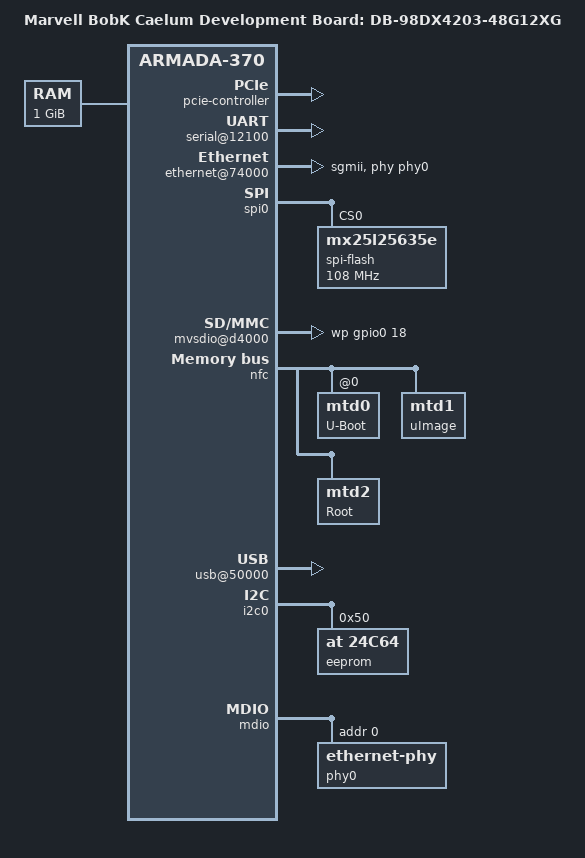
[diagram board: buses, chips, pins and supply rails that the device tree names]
/*
 * Device Tree file for Marvell BobK Caelum development board
 * Supported Boards:
 * (DB-98DX4203-48G12XG)
 *
 * Copyright (C) 2015 Marvell
 *
 * This file is licensed under the terms of the GNU General Public
 * License version 2.  This program is licensed "as is" without any
 * warranty of any kind, whether express or implied.
 */

/dts-v1/;
#include <dt-bindings/gpio/gpio.h>
#include "msys-bobk.dtsi"

/ {
	model = "Marvell BobK Caelum Development Board: DB-98DX4203-48G12XG";
	compatible = "marvell,msys", "marvell,msys-bobk", "marvell,msys-bobk-caelum",
		     "marvell,msys-bobk-caelum-db", "marvell,armada-370-xp";

	chosen {
		bootargs = "console=ttyS0,115200 earlyprintk";
	};

	memory {
		/*
                 * 1GB of plug-in RAM modules by default. The amount
                 * of memory available can be changed by the
                 * bootloader according the size of the module
                 * actually plugged.
		 */
		device_type = "memory";
		reg = <0x00000000 0x00000000 0x00000000 0x40000000>;
	};

	soc {
		devbus-bootcs {
			/* NOR 16 MiB */
			nor@0 {
				compatible = "cfi-flash";
				reg = <0 0x1000000>;
				bank-width = <2>;
			};
		};

		pcie-controller {
			status = "okay";

			pcie@1,0 {
				status = "okay";
			};
		};

		internal-regs {
			serial@12000 {
				status = "disabled";
			};

			serial@12100 {
				status = "okay";
			};

			/* Gbe MAC 0 is connected to switch port #62. */
			/* TODO: Enable the Gbe MAC 0 with fix-link. */
			ethernet@70000 {
				status = "disabled";
			};

			/* Gbe MAC 1 is connected to the out-of-band phy */
			/* since its 'phy' node's parent node - 'switch/mdio' node has 'smi-indirect-access' flag. */
			ethernet@74000 {
				status = "okay";
				phy = <&phy0>;
				phy-mode = "sgmii";
			};

			spi0: spi@10600 {
				status = "okay";

				spi-flash@0 {
					#address-cells = <1>;
					#size-cells = <1>;
					compatible = "mx25l25635e";
					reg = <0>; /* Chip select 0 */
					spi-max-frequency = <108000000>;
				};
			};

			mvsdio@d4000 {
				status = "okay";
				wp-gpios = <&gpio0 18 0>;
				broken-cd;
			};

			nfc: nand-flash@d0000 {
				#address-cells = <1>;
				#size-cells = <1>;
				status = "okay";

				nfc,nfc-mode  = "normal";       /* normal or ganged */
				nfc,nfc-dma   = <0>;            /* 0 for no, 1 for dma */
				nfc,nfc-width = <8>;
				nfc,ecc-type  = <1>;            /* 4 bit */
				nfc,num-cs    = <1>;

				mtd0@00000000 {
					label = "U-Boot";
					reg = <0x00000000 0x00800000>;
					read-only;
				};

				mtd1@00080000 {
					label = "uImage";
					reg = <0x00800000 0x00800000>;
					read-only;
				};

				mtd2@00140000 {
					label = "Root";
					reg = <0x01000000 0x3f000000>;
				};
			};

			usb@50000 {
				status = "okay";
			};

			i2c0: i2c@11000 {
				eeprom@50 {
					compatible = "at,24c64";
					pagesize = <32>;
					reg = <0x50>;
					marvell,board_id_reg = <0x7>;
				};
			};
		};

		prestera {
			status = "okay";
			/* the remote MSYS board ID can be enforced
			cpss_force_board_id = <0x51>; */
			servicecpu {
				status = "disabled";
				sram_sections {
					/* the sum of all sections' size should be equal to sram_base's size */
					/* there should be no gap between 2 continuous sections */
					/* the section lable should be one of following: */
					/* "L2 Cache", "free area", "host memory", "OAM DB" */
					/* the current sections definition is used for 512K SRAM (for BobK). */
					sram_section@0 {
						label = "L2 Cache";
						reg = <0 0x40000>;    /* section offset to sram_base and section size */
					};

					sram_section@0x40000 {
						label = "host memory";
						reg = <0x40000 0x20000>;
					};

					sram_section@0x60000 {
						label = "OAM DB";
						reg = <0x60000 0x20000>;
					};
				};

				dram_sections {
					/* the sum of all sections' size should be equal to dram_base's size */
					/* there should be no gap between 2 continuous sections */
					/* the section lable should be one of following: */
					/* "firmware" and "share memory" */
					dram_section@0x0 {
						label = "firmware";		/* section offset to dram_base and section size */
						reg = <0 0x200000>;
					};

					dram_section@0x200000 {
						label = "share memory";
						reg = <0x200000 0x200000>;
					};
				};
			};
		};
	};

	switch {
		#address-cells = <1>;
		#size-cells = <1>;
		mdio {
			#address-cells = <1>;
			#size-cells = <0>;
			reg = <0x55000000 0x8>; /* Switch SMI register base */
			smi-indirect-access;
			phy0: ethernet-phy@0 {
				reg = <0>;
			};
		};
	};
};
